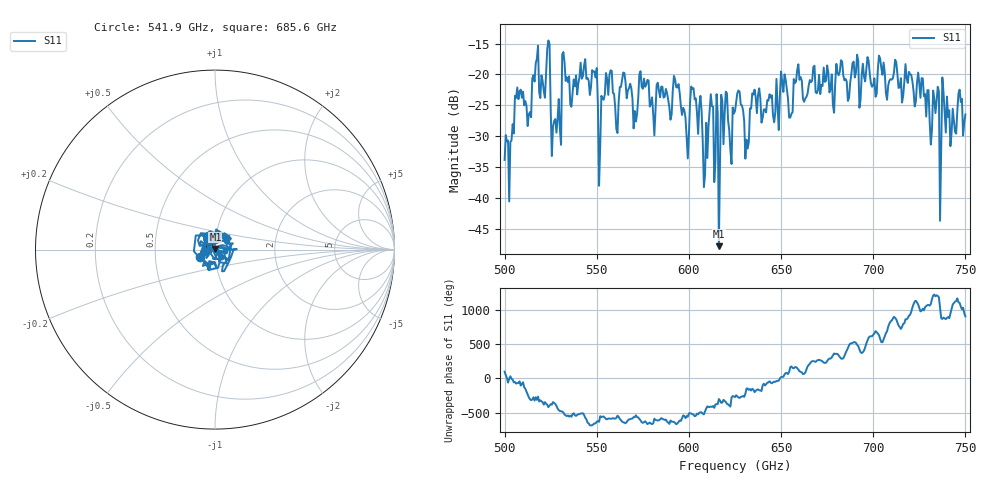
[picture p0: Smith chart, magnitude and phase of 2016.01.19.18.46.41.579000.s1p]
!Created with skrf (http://scikit-rf.org).
# GHz S RI R 50.0
!freq ReS11 ImS11
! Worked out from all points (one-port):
!   401 points, 500 GHz to 750 GHz, reference 50 ohm
!   lowest |S11| = -47.8 dB at 616.2 GHz (marker M1), VSWR 1.01, Z = 50.2 + j0.346 ohm
!   |S11| at or under -10 dB: start of sweep to end of sweep
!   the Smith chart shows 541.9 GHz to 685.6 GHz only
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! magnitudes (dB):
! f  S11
! 500 GHz  -33.9
! 503.8 GHz  -30.7
! 506.9 GHz  -22.1
! 513.1 GHz  -26.5
! 516.9 GHz  -18.2
! 523.8 GHz  -14.5
! 526.9 GHz  -27.6
! 531.2 GHz  -16.8
! 548.8 GHz  -19.5
! 551.9 GHz  -31.5
! 556.2 GHz  -23.3
! 562.5 GHz  -22.0
! 593.8 GHz  -22.1
! 598.8 GHz  -30.1
! 602.5 GHz  -22.2
! 608.8 GHz  -36.3
! 611.9 GHz  -23.2
! 615 GHz  -23.2
! 616.2 GHz  -47.8
! 625 GHz  -25.9
! 631.2 GHz  -30.6
! 635 GHz  -23.3
! 656.2 GHz  -26.1
! 687.5 GHz  -21.3
! 718.8 GHz  -21.4
! 734.4 GHz  -24.3
! 735.6 GHz  -22.7
! 750 GHz  -26.5
